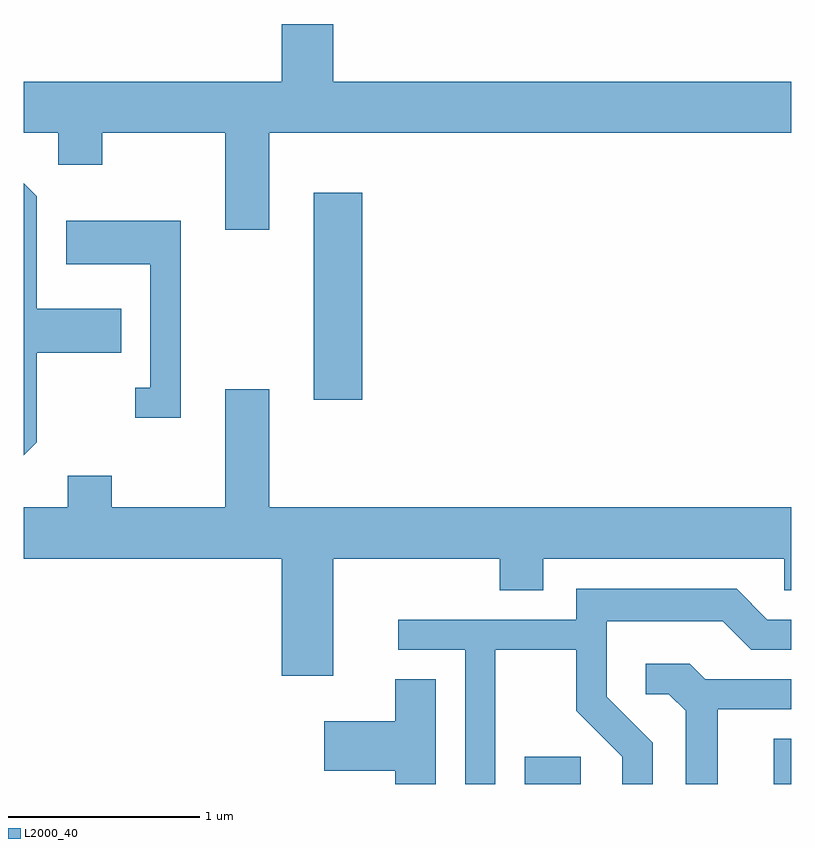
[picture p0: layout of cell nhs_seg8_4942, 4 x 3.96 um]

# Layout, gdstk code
import gdstk
lib = gdstk.Library(unit=1e-6, precision=1e-09)
def R(c, l, rs):  # rectangles x0, y0, x1, y1
    for r in rs: c.add(gdstk.rectangle(r[:2], r[2:], *l))
def P(c, l, *ps):  # polygons
    for p in ps: c.add(gdstk.Polygon(p, *l))
L2000_40 = (2000, 40)

nhs_seg8_4942 = lib.new_cell('nhs_seg8_4942')
R(nhs_seg8_4942, L2000_40, [(336.221,1846.342,336.514,1846.484), (337.521,1846.342,337.611,1846.579), (335.121,1848.346,335.374,1849.424)])
P(nhs_seg8_4942, L2000_40, [(334.889,1849.736),(337.611,1849.736),(337.611,1850.004),(335.224,1850.004),(335.224,1850.304),(334.956,1850.304),(334.956,1850.004),(333.611,1850.004),(333.611,1849.736),(333.791,1849.736),(333.791,1849.571),(334.019,1849.571),(334.019,1849.736),(334.661,1849.736),(334.661,1849.231),(334.889,1849.231)],
  [(333.679,1848.124),(333.679,1848.591),(334.119,1848.591),(334.119,1848.819),(333.679,1848.819),(333.679,1849.407),(333.611,1849.475),(333.611,1848.056)],
  [(334.429,1849.279),(333.831,1849.279),(333.831,1849.051),(334.271,1849.051),(334.271,1848.409),(334.193,1848.409),(334.193,1848.251),(334.429,1848.251)],
  [(335.224,1847.516),(336.091,1847.516),(336.091,1847.351),(336.319,1847.351),(336.319,1847.516),(337.576,1847.516),(337.576,1847.351),(337.611,1847.351),(337.611,1847.784),(334.889,1847.784),(334.889,1848.399),(334.661,1848.399),(334.661,1847.784),(334.069,1847.784),(334.069,1847.949),(333.841,1847.949),(333.841,1847.784),(333.611,1847.784),(333.611,1847.516),(334.956,1847.516),(334.956,1846.906),(335.224,1846.906)],
  [(336.069,1847.041),(336.491,1847.041),(336.491,1846.724),(336.731,1846.484),(336.731,1846.342),(336.889,1846.342),(336.889,1846.557),(336.649,1846.797),(336.649,1847.191),(337.254,1847.191),(337.404,1847.041),(337.611,1847.041),(337.611,1847.199),(337.487,1847.199),(337.327,1847.359),(336.491,1847.359),(336.491,1847.199),(335.563,1847.199),(335.563,1847.041),(335.911,1847.041),(335.911,1846.342),(336.069,1846.342)],
  [(337.229,1846.731),(337.611,1846.731),(337.611,1846.889),(337.162,1846.889),(337.082,1846.969),(336.853,1846.969),(336.853,1846.811),(336.974,1846.811),(337.061,1846.724),(337.061,1846.342),(337.229,1846.342)],
  [(335.759,1846.889),(335.546,1846.889),(335.546,1846.669),(335.176,1846.669),(335.176,1846.411),(335.546,1846.411),(335.546,1846.342),(335.759,1846.342)])

lib.write_gds('nhs_seg8_4942.gds')
